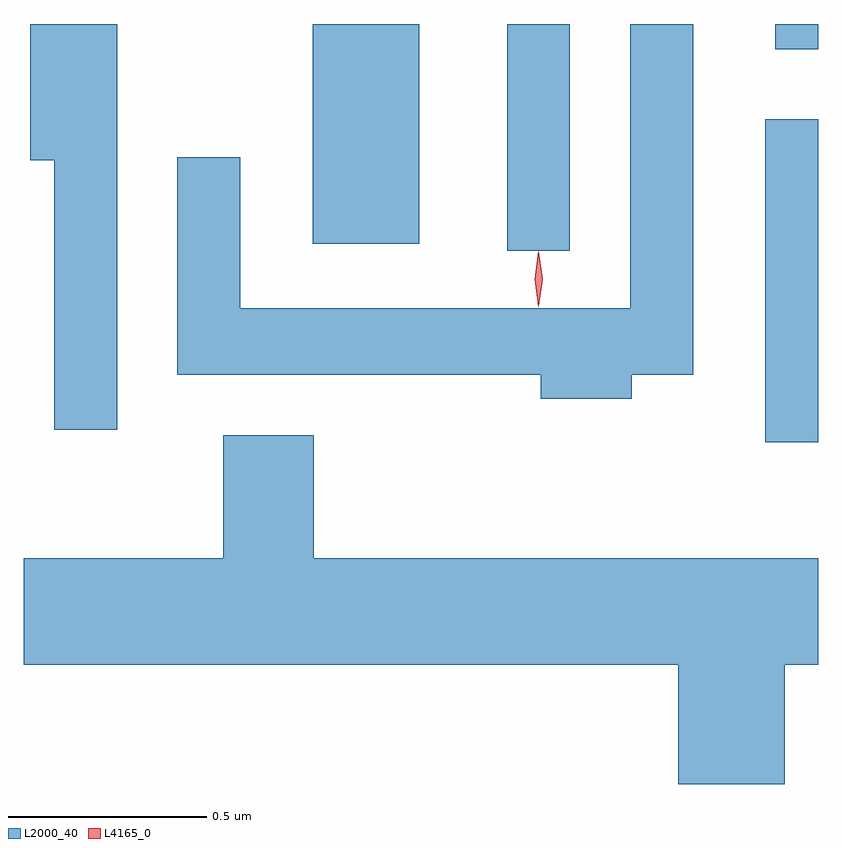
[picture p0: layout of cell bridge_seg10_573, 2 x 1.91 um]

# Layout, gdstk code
import gdstk
lib = gdstk.Library(unit=1e-6, precision=1e-09)
def R(c, l, rs):  # rectangles x0, y0, x1, y1
    for r in rs: c.add(gdstk.rectangle(r[:2], r[2:], *l))
def P(c, l, *ps):  # polygons
    for p in ps: c.add(gdstk.Polygon(p, *l))
L2000_40 = (2000, 40)
L4165_0 = (4165, 0)

bridge_seg10_573 = lib.new_cell('bridge_seg10_573')
R(bridge_seg10_573, L2000_40, [(794.716,2165.536,794.849,2166.349), (794.066,2166.018,794.224,2166.589), (793.576,2166.036,793.844,2166.589), (794.741,2166.526,794.849,2166.589)])
P(bridge_seg10_573, L2000_40, [(793.084,2166.589),(792.866,2166.589),(792.866,2166.246),(792.926,2166.246),(792.926,2165.568),(793.084,2165.568)],
  [(794.379,2165.706),(794.534,2165.706),(794.534,2166.589),(794.376,2166.589),(794.376,2165.874),(793.394,2165.874),(793.394,2166.253),(793.236,2166.253),(793.236,2165.706),(794.151,2165.706),(794.151,2165.646),(794.379,2165.646)],
  [(794.764,2164.976),(794.849,2164.976),(794.849,2165.244),(793.579,2165.244),(793.579,2165.554),(793.351,2165.554),(793.351,2165.244),(792.849,2165.244),(792.849,2164.976),(794.496,2164.976),(794.496,2164.676),(794.764,2164.676)])
P(bridge_seg10_573, L4165_0, [(794.145,2165.877),(794.144,2165.878),(794.135,2165.946),(794.144,2166.016),(794.145,2166.016),(794.145,2166.016),(794.155,2165.946),(794.145,2165.878)])

lib.write_gds('bridge_seg10_573.gds')
